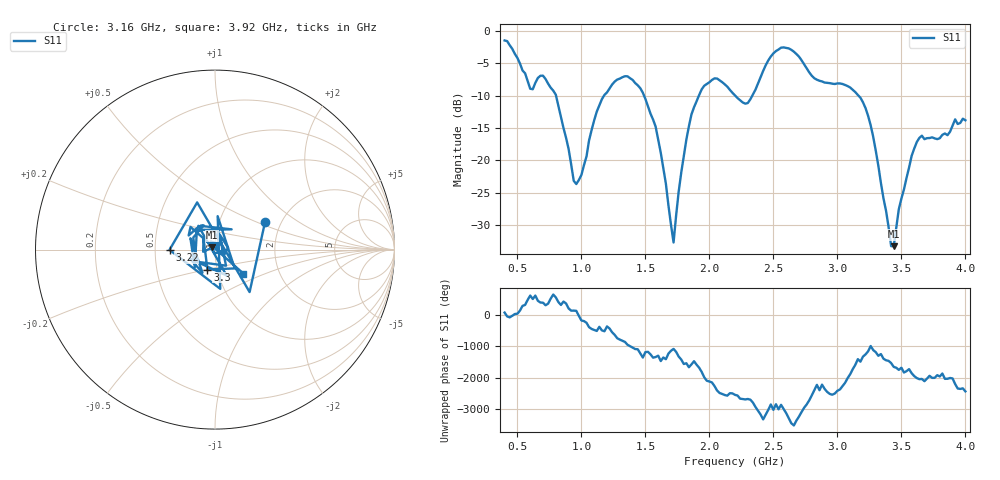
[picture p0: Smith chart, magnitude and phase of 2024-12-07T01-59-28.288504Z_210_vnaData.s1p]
!Created with skrf (http://scikit-rf.org).
# Hz S RI R 50.0
!freq ReS11 ImS11
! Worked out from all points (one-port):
!   181 points, 400 MHz to 4 GHz, reference 50 ohm
!   lowest |S11| = -33.2 dB at 3.44 GHz (marker M1), VSWR 1.04, Z = 48.2 + j1.21 ohm
!   |S11| at or under -10 dB: 801.8 MHz to 1.176 GHz (374.5 MHz wide, 37.9 % of centre); 1.49 GHz to 1.918 GHz (428.1 MHz wide, 25.1 % of centre); 3.165 GHz to end of sweep (the widest 3 of 4)
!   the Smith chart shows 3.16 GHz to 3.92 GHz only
!   S11 on the Smith chart (normalised r, x): 3.16 GHz: 1.65, +0.58; 3.22 GHz: 0.60, -0.00; 3.3 GHz: 0.90, -0.20; 3.92 GHz: 1.32, -0.37
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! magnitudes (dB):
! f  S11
! 400 MHz  -1.5
! 600 MHz  -8.9
! 720 MHz  -7.4
! 860 MHz  -15.0
! 960 MHz  -23.6
! 1.14 GHz  -11.5
! 1.3 GHz  -7.4
! 1.46 GHz  -8.8
! 1.58 GHz  -14.8
! 1.72 GHz  -32.7
! 1.76 GHz  -24.8
! 1.86 GHz  -12.9
! 1.94 GHz  -9.0
! 2.06 GHz  -7.3
! 2.2 GHz  -10.0
! 2.3 GHz  -11.1
! 2.5 GHz  -3.5
! 2.66 GHz  -3.2
! 3.1 GHz  -8.7
! 3.16 GHz  -9.9
! 3.22 GHz  -11.9
! 3.3 GHz  -18.5
! 3.42 GHz  -33.2
! 3.44 GHz  -33.2
! 3.56 GHz  -21.1
! 3.64 GHz  -16.5
! 3.92 GHz  -13.7
! 4 GHz  -13.8
